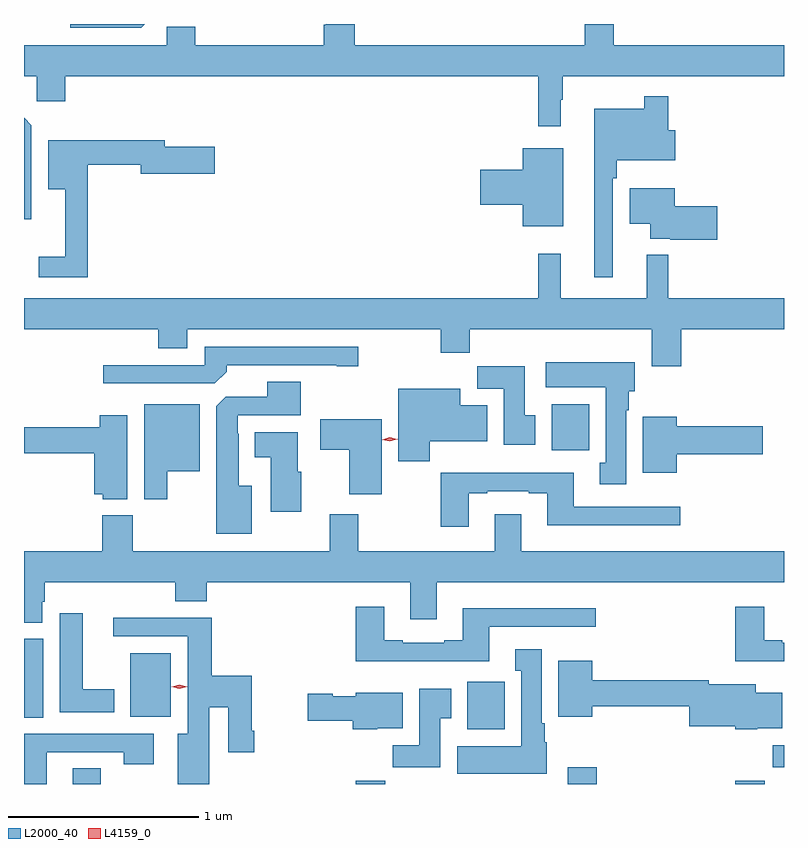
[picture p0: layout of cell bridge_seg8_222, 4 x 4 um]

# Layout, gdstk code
import gdstk
lib = gdstk.Library(unit=1e-6, precision=1e-09)
def R(c, l, rs):  # rectangles x0, y0, x1, y1
    for r in rs: c.add(gdstk.rectangle(r[:2], r[2:], *l))
def P(c, l, *ps):  # polygons
    for p in ps: c.add(gdstk.Polygon(p, *l))
L2000_40 = (2000, 40)
L4159_0 = (4159, 0)

bridge_seg8_222 = lib.new_cell('bridge_seg8_222')
R(bridge_seg8_222, L2000_40, [(134.351,1083.471,134.499,1083.554), (135.839,1083.471,135.995,1083.488), (136.955,1083.471,137.108,1083.559), (137.837,1083.471,137.993,1083.488), (138.034,1083.558,138.094,1083.676), (136.427,1083.758,136.623,1084.009), (134.094,1083.82,134.194,1084.236), (134.654,1083.824,134.866,1084.159), (136.871,1085.228,137.068,1085.47)])
P(bridge_seg8_222, L2000_40, [(134.729,1087.471),(134.337,1087.471),(134.337,1087.452),(134.71,1087.452)],
  [(136.918,1087.073),(136.93,1087.073),(136.93,1087.196),(138.094,1087.196),(138.094,1087.36),(137.198,1087.36),(137.198,1087.471),(137.046,1087.471),(137.046,1087.36),(135.836,1087.36),(135.836,1087.471),(135.683,1087.471),(135.683,1087.466),(135.671,1087.466),(135.671,1087.36),(134.996,1087.36),(134.996,1087.456),(134.844,1087.456),(134.844,1087.36),(134.094,1087.36),(134.094,1087.196),(134.16,1087.196),(134.16,1087.065),(134.312,1087.065),(134.312,1087.196),(136.801,1087.196),(136.801,1086.933),(136.918,1086.933)],
  [(137.193,1086.659),(137.213,1086.659),(137.213,1086.755),(137.521,1086.755),(137.521,1086.913),(137.486,1086.913),(137.486,1087.09),(137.358,1087.09),(137.358,1087.024),(137.096,1087.024),(137.096,1086.138),(137.193,1086.138)],
  [(134.133,1086.939),(134.094,1086.978),(134.094,1086.444),(134.133,1086.444)],
  [(134.429,1086.73),(134.708,1086.73),(134.708,1086.683),(135.097,1086.683),(135.097,1086.825),(134.836,1086.825),(134.836,1086.859),(134.222,1086.859),(134.222,1086.602),(134.312,1086.602),(134.312,1086.247),(134.172,1086.247),(134.172,1086.138),(134.429,1086.138)],
  [(136.933,1086.817),(136.718,1086.817),(136.718,1086.704),(136.494,1086.704),(136.494,1086.521),(136.718,1086.521),(136.718,1086.407),(136.933,1086.407)],
  [(137.743,1086.512),(137.518,1086.512),(137.518,1086.607),(137.282,1086.607),(137.282,1086.419),(137.39,1086.419),(137.39,1086.341),(137.494,1086.341),(137.494,1086.336),(137.743,1086.336)],
  [(137.552,1085.864),(138.094,1085.864),(138.094,1086.028),(137.484,1086.028),(137.484,1086.256),(137.372,1086.256),(137.372,1086.028),(136.919,1086.028),(136.919,1086.262),(136.801,1086.262),(136.801,1086.028),(134.094,1086.028),(134.094,1085.864),(134.801,1085.864),(134.801,1085.765),(134.953,1085.765),(134.953,1085.864),(136.288,1085.864),(136.288,1085.74),(136.439,1085.74),(136.439,1085.864),(137.399,1085.864),(137.399,1085.67),(137.552,1085.67)],
  [(135.161,1085.642),(135.161,1085.676),(135.74,1085.676),(135.74,1085.671),(135.853,1085.671),(135.853,1085.772),(135.045,1085.772),(135.045,1085.676),(134.511,1085.676),(134.511,1085.58),(135.099,1085.58)],
  [(137.263,1085.438),(137.278,1085.438),(137.278,1085.538),(137.308,1085.538),(137.308,1085.692),(136.839,1085.692),(136.839,1085.558),(137.156,1085.558),(137.156,1085.162),(137.123,1085.162),(137.123,1085.049),(137.263,1085.049)],
  [(136.786,1085.412),(136.729,1085.412),(136.729,1085.671),(136.48,1085.671),(136.48,1085.552),(136.619,1085.552),(136.619,1085.256),(136.786,1085.256)],
  [(135.292,1085.041),(135.223,1085.041),(135.223,1085.315),(135.219,1085.315),(135.219,1085.412),(135.55,1085.412),(135.55,1085.587),(135.374,1085.587),(135.374,1085.508),(135.156,1085.508),(135.107,1085.459),(135.107,1084.787),(135.292,1084.787)],
  [(136.23,1085.276),(136.531,1085.276),(136.531,1085.464),(136.39,1085.464),(136.39,1085.551),(136.064,1085.551),(136.064,1085.169),(136.23,1085.169)],
  [(134.848,1085.117),(135.019,1085.117),(135.019,1085.47),(134.726,1085.47),(134.726,1084.971),(134.848,1084.971)],
  [(134.638,1085.413),(134.492,1085.413),(134.492,1085.348),(134.094,1085.348),(134.094,1085.212),(134.465,1085.212),(134.465,1084.997),(134.508,1084.997),(134.508,1084.97),(134.638,1084.97)],
  [(137.53,1085.207),(137.983,1085.207),(137.983,1085.354),(137.53,1085.354),(137.53,1085.404),(137.351,1085.404),(137.351,1085.108),(137.53,1085.108)],
  [(135.976,1085.392),(135.654,1085.392),(135.654,1085.23),(135.806,1085.23),(135.806,1084.997),(135.976,1084.997)],
  [(135.553,1085.115),(135.535,1085.115),(135.535,1085.323),(135.308,1085.323),(135.308,1085.192),(135.392,1085.192),(135.392,1084.905),(135.553,1084.905)],
  [(136.435,1085.001),(136.531,1085.001),(136.531,1085.013),(136.751,1085.013),(136.751,1085.001),(136.847,1085.001),(136.847,1084.832),(137.548,1084.832),(137.548,1084.929),(136.987,1084.929),(136.987,1085.11),(136.399,1085.11),(136.399,1085.109),(136.288,1085.109),(136.288,1084.824),(136.435,1084.824)],
  [(134.191,1084.431),(134.204,1084.431),(134.204,1084.532),(134.891,1084.532),(134.891,1084.433),(135.056,1084.433),(135.056,1084.532),(136.127,1084.532),(136.127,1084.338),(136.267,1084.338),(136.267,1084.532),(138.094,1084.532),(138.094,1084.696),(136.711,1084.696),(136.711,1084.891),(136.571,1084.891),(136.571,1084.696),(135.852,1084.696),(135.852,1084.891),(135.704,1084.891),(135.704,1084.696),(134.667,1084.696),(134.667,1084.885),(134.507,1084.885),(134.507,1084.696),(134.094,1084.696),(134.094,1084.321),(134.191,1084.321)],
  [(136.543,1084.299),(137.104,1084.299),(137.104,1084.396),(136.403,1084.396),(136.403,1084.228),(136.307,1084.228),(136.307,1084.215),(136.087,1084.215),(136.087,1084.228),(135.991,1084.228),(135.991,1084.405),(135.839,1084.405),(135.839,1084.118),(136.543,1084.118)],
  [(138.094,1084.215),(138.085,1084.215),(138.085,1084.228),(137.989,1084.228),(137.989,1084.405),(137.837,1084.405),(137.837,1084.118),(138.094,1084.118)],
  [(134.569,1083.97),(134.404,1083.97),(134.404,1084.369),(134.282,1084.369),(134.282,1083.848),(134.569,1083.848)],
  [(135.07,1083.875),(135.17,1083.875),(135.17,1083.639),(135.305,1083.639),(135.305,1083.751),(135.292,1083.751),(135.292,1084.04),(135.083,1084.04),(135.083,1084.346),(134.565,1084.346),(134.565,1084.248),(134.957,1084.248),(134.957,1083.736),(134.903,1083.736),(134.903,1083.471),(135.07,1083.471)],
  [(136.846,1083.69),(136.834,1083.69),(136.834,1083.79),(136.819,1083.79),(136.819,1084.18),(136.679,1084.18),(136.679,1084.067),(136.712,1084.067),(136.712,1083.67),(136.373,1083.67),(136.373,1083.524),(136.846,1083.524)],
  [(137.952,1083.764),(138.085,1083.764),(138.085,1083.952),(137.944,1083.952),(137.944,1083.997),(137.698,1083.997),(137.698,1084.016),(137.086,1084.016),(137.086,1084.12),(136.907,1084.12),(136.907,1083.824),(137.086,1083.824),(137.086,1083.88),(137.594,1083.88),(137.594,1083.776),(137.838,1083.776),(137.838,1083.758),(137.952,1083.758)],
  [(136.285,1083.817),(136.342,1083.817),(136.342,1083.973),(136.175,1083.973),(136.175,1083.676),(136.036,1083.676),(136.036,1083.558),(136.285,1083.558)],
  [(135.954,1083.764),(136.087,1083.764),(136.087,1083.952),(135.84,1083.952),(135.84,1083.934),(135.72,1083.934),(135.72,1083.947),(135.588,1083.947),(135.588,1083.805),(135.824,1083.805),(135.824,1083.758),(135.954,1083.758)],
  [(134.215,1083.639),(134.62,1083.639),(134.62,1083.576),(134.776,1083.576),(134.776,1083.735),(134.094,1083.735),(134.094,1083.471),(134.215,1083.471)])
P(bridge_seg8_222, L4159_0, [(136.02,1085.275),(135.98,1085.283),(135.98,1085.283),(135.98,1085.283),(136.019,1085.295),(136.059,1085.286),(136.06,1085.286),(136.059,1085.286)],
  [(134.912,1083.973),(134.871,1083.983),(134.871,1083.983),(134.871,1083.984),(134.912,1083.993),(134.953,1083.984),(134.953,1083.983),(134.953,1083.983)])

lib.write_gds('bridge_seg8_222.gds')
